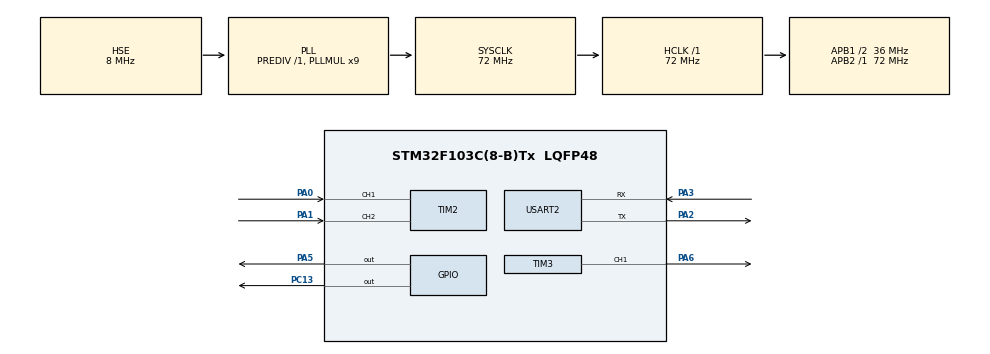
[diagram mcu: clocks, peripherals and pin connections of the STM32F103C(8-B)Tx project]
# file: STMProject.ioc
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Dma.Request0=USART2_RX
Dma.USART2_RX.0.Direction=DMA_PERIPH_TO_MEMORY
Dma.USART2_RX.0.Instance=DMA1_Channel6
Dma.USART2_RX.0.MemDataAlignment=DMA_MDATAALIGN_BYTE
Dma.USART2_RX.0.MemInc=DMA_MINC_ENABLE
Dma.USART2_RX.0.Mode=DMA_CIRCULAR
Dma.USART2_RX.0.PeriphDataAlignment=DMA_PDATAALIGN_BYTE
Dma.USART2_RX.0.PeriphInc=DMA_PINC_DISABLE
Dma.USART2_RX.0.Priority=DMA_PRIORITY_LOW
Mcu.Family=STM32F1
Mcu.Name=STM32F103C(8-B)Tx
Mcu.Package=LQFP48
NVIC.DMA1_Channel6_IRQn=true\:0\:0\:false\:false\:true\:false\:true\:true
NVIC.PriorityGroup=NVIC_PRIORITYGROUP_4
NVIC.TIM2_IRQn=true\:0\:0\:false\:false\:true\:true\:true\:true
PA0-WKUP.Signal=S_TIM2_CH1_ETR
PA1.Signal=S_TIM2_CH2
PA2.Mode=Asynchronous
PA2.Signal=USART2_TX
PA3.Mode=Asynchronous
PA3.Signal=USART2_RX
PA5.Signal=GPIO_Output
PA6.Signal=S_TIM3_CH1
PC13-TAMPER-RTC.Signal=GPIO_Output
PD0-OSC_IN.Mode=HSE-External-Oscillator
PD0-OSC_IN.Signal=RCC_OSC_IN
PD1-OSC_OUT.Mode=HSE-External-Oscillator
PD1-OSC_OUT.Signal=RCC_OSC_OUT
ProjectManager.HeapSize=0x200
ProjectManager.StackSize=0x400
ProjectManager.TargetToolchain=STM32CubeIDE
RCC.AHBFreq_Value=72000000
RCC.APB1CLKDivider=RCC_HCLK_DIV2
RCC.APB1Freq_Value=36000000
RCC.APB1TimFreq_Value=72000000
RCC.APB2Freq_Value=72000000
RCC.APB2TimFreq_Value=72000000
RCC.HCLKFreq_Value=72000000
RCC.PLLMUL=RCC_PLL_MUL9
RCC.PLLSourceVirtual=RCC_PLLSOURCE_HSE
RCC.SYSCLKFreq_VALUE=72000000
RCC.SYSCLKSource=RCC_SYSCLKSOURCE_PLLCLK
RCC.USBFreq_Value=72000000
SH.S_TIM2_CH1_ETR.0=TIM2_CH1,Encoder_Interface
SH.S_TIM2_CH2.0=TIM2_CH2,Encoder_Interface
SH.S_TIM3_CH1.0=TIM3_CH1,PWM Generation1 CH1
TIM2.AutoReloadPreload=TIM_AUTORELOAD_PRELOAD_ENABLE
TIM2.EncoderMode=TIM_ENCODERMODE_TI12
TIM2.IC1Filter=10
TIM3.AutoReloadPreload=TIM_AUTORELOAD_PRELOAD_ENABLE
TIM3.Channel-PWM\ Generation1\ CH1=TIM_CHANNEL_1
USART2.VirtualMode=VM_ASYNC
board=custom

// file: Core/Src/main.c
/* USER CODE BEGIN Header */
/**
  ******************************************************************************
  * @file           : main.c
  * @brief          : Main program body
  ******************************************************************************
  * @attention
  *
  * Copyright (c) 2023 STMicroelectronics.
  * All rights reserved.
  *
  * This software is licensed under terms that can be found in the LICENSE file
  * in the root directory of this software component.
  * If no LICENSE file comes with this software, it is provided AS-IS.
  *
  ******************************************************************************
  */
/* USER CODE END Header */
#include "main.h"
#include "stdio.h"

TIM_HandleTypeDef htim2;
TIM_HandleTypeDef htim3;

UART_HandleTypeDef huart2;
DMA_HandleTypeDef hdma_usart2_rx;

void SystemClock_Config(void);
static void MX_GPIO_Init(void);
static void MX_DMA_Init(void);
static void MX_TIM3_Init(void);
static void MX_USART2_UART_Init(void);
static void MX_TIM2_Init(void);

/* USER CODE BEGIN 0 */
int64_t encoder_delta_position;
encoder_instance enc_instance;

/* USER CODE END 0 */

int main(void)
{

  /* MCU Configuration--------------------------------------------------------*/

  /* Reset of all peripherals, Initializes the Flash interface and the Systick. */
  HAL_Init();

  /* Configure the system clock */
  SystemClock_Config();

  /* Initialize all configured peripherals */
  MX_GPIO_Init();
  MX_DMA_Init();
  MX_TIM3_Init();
  MX_USART2_UART_Init();
  MX_TIM2_Init();
  /* USER CODE BEGIN 2*/
  uint8_t message[DATA_LENGTH] = {'\0'};
  uint8_t RxData[DATA_LENGTH];
  int32_t dutyCycle = 0;

  /* USER CODE END 2 */

  /* Infinite loop */
  /* USER CODE BEGIN WHILE */
  while (1)
  {
	  dutyCycle = 0;
	  // measure velocity, position
	  update_encoder(&enc_instance, &htim2);
	  encoder_delta_position = enc_instance.delta_position;

	  sprintf(message, "%d\r\n", encoder_delta_position); //add detailed message
	  HAL_UART_Transmit(&huart2, message, sizeof(message), UART_TIMEOUT);
	  HAL_UART_Receive_DMA(&huart2, RxData, sizeof(RxData));

	  //check for negative PWM
 	  if(RxData[0]== '-')
 	  {
 		 HAL_GPIO_WritePin(WHEEL_M_DIR_GPIO_Port, WHEEL_M_DIR_Pin, GPIO_PIN_RESET);
 	  }
 	  else
 	  {
 		 HAL_GPIO_WritePin(WHEEL_M_DIR_GPIO_Port, WHEEL_M_DIR_Pin, GPIO_PIN_SET);
 	  }

	  for(uint8_t i = 0; RxData[i] != '\t' && i< sizeof(RxData); i++)
	   {
		  if(RxData[i]== '-')
		  {
			  continue;
		  }
		  else
		  {
			  //change values from string to integer value
			  dutyCycle = dutyCycle*10 + (RxData[i] - '0');
		  }
	   }

	  dutyCycle = abs(dutyCycle);

	  //push PWM value
	  if(dutyCycle < DUTYCYCLE_MAX)
	  {
		  	  dutyCycle = dutyCycle*DUTYCYCLE_SCALER;
	       	  TIM3->CCR1 = dutyCycle;
	  }
	  else
	  {
		  TIM3->CCR1 = 0;
	  }

    /* USER CODE END WHILE */

  }
}

void SystemClock_Config(void)
{
  RCC_OscInitTypeDef RCC_OscInitStruct = {0};
  RCC_ClkInitTypeDef RCC_ClkInitStruct = {0};

  /** Initializes the RCC Oscillators according to the specified parameters
  * in the RCC_OscInitTypeDef structure.
  */
  RCC_OscInitStruct.OscillatorType = RCC_OSCILLATORTYPE_HSE;
  RCC_OscInitStruct.HSEState = RCC_HSE_ON;
  RCC_OscInitStruct.HSEPredivValue = RCC_HSE_PREDIV_DIV1;
  RCC_OscInitStruct.HSIState = RCC_HSI_ON;
  RCC_OscInitStruct.PLL.PLLState = RCC_PLL_ON;
  RCC_OscInitStruct.PLL.PLLSource = RCC_PLLSOURCE_HSE;
  RCC_OscInitStruct.PLL.PLLMUL = RCC_PLL_MUL9;
  if (HAL_RCC_OscConfig(&RCC_OscInitStruct) != HAL_OK)
  {
    Error_Handler();
  }

  /** Initializes the CPU, AHB and APB buses clocks
  */
  RCC_ClkInitStruct.ClockType = RCC_CLOCKTYPE_HCLK|RCC_CLOCKTYPE_SYSCLK
                              |RCC_CLOCKTYPE_PCLK1|RCC_CLOCKTYPE_PCLK2;
  RCC_ClkInitStruct.SYSCLKSource = RCC_SYSCLKSOURCE_PLLCLK;
  RCC_ClkInitStruct.AHBCLKDivider = RCC_SYSCLK_DIV1;
  RCC_ClkInitStruct.APB1CLKDivider = RCC_HCLK_DIV2;
  RCC_ClkInitStruct.APB2CLKDivider = RCC_HCLK_DIV1;

  if (HAL_RCC_ClockConfig(&RCC_ClkInitStruct, FLASH_LATENCY_2) != HAL_OK)
  {
    Error_Handler();
  }
}

static void MX_TIM2_Init(void)
{

  TIM_Encoder_InitTypeDef sConfig = {0};
  TIM_MasterConfigTypeDef sMasterConfig = {0};

  htim2.Instance = TIM2;
  htim2.Init.Prescaler = 0;
  htim2.Init.CounterMode = TIM_COUNTERMODE_UP;
  htim2.Init.Period = 65535;
  htim2.Init.ClockDivision = TIM_CLOCKDIVISION_DIV1;
  htim2.Init.AutoReloadPreload = TIM_AUTORELOAD_PRELOAD_ENABLE;
  sConfig.EncoderMode = TIM_ENCODERMODE_TI12;
  sConfig.IC1Polarity = TIM_ICPOLARITY_RISING;
  sConfig.IC1Selection = TIM_ICSELECTION_DIRECTTI;
  sConfig.IC1Prescaler = TIM_ICPSC_DIV1;
  sConfig.IC1Filter = 10;
  sConfig.IC2Polarity = TIM_ICPOLARITY_RISING;
  sConfig.IC2Selection = TIM_ICSELECTION_DIRECTTI;
  sConfig.IC2Prescaler = TIM_ICPSC_DIV1;
  sConfig.IC2Filter = 0;
  if (HAL_TIM_Encoder_Init(&htim2, &sConfig) != HAL_OK)
  {
    Error_Handler();
  }
  sMasterConfig.MasterOutputTrigger = TIM_TRGO_RESET;
  sMasterConfig.MasterSlaveMode = TIM_MASTERSLAVEMODE_DISABLE;
  if (HAL_TIMEx_MasterConfigSynchronization(&htim2, &sMasterConfig) != HAL_OK)
  {
    Error_Handler();
  }
  /* USER CODE BEGIN TIM2_Init 2 */
  HAL_TIM_Encoder_Start(&htim2, TIM_CHANNEL_ALL);
  /* USER CODE END TIM2_Init 2 */

}

static void MX_TIM3_Init(void)
{

  TIM_MasterConfigTypeDef sMasterConfig = {0};
  TIM_OC_InitTypeDef sConfigOC = {0};

  htim3.Instance = TIM3;
  htim3.Init.Prescaler = 0;
  htim3.Init.CounterMode = TIM_COUNTERMODE_UP;
  htim3.Init.Period = 65535;
  htim3.Init.ClockDivision = TIM_CLOCKDIVISION_DIV1;
  htim3.Init.AutoReloadPreload = TIM_AUTORELOAD_PRELOAD_ENABLE;
  if (HAL_TIM_PWM_Init(&htim3) != HAL_OK)
  {
    Error_Handler();
  }
  sMasterConfig.MasterOutputTrigger = TIM_TRGO_RESET;
  sMasterConfig.MasterSlaveMode = TIM_MASTERSLAVEMODE_DISABLE;
  if (HAL_TIMEx_MasterConfigSynchronization(&htim3, &sMasterConfig) != HAL_OK)
  {
    Error_Handler();
  }
  sConfigOC.OCMode = TIM_OCMODE_PWM1;
  sConfigOC.Pulse = 0;
  sConfigOC.OCPolarity = TIM_OCPOLARITY_HIGH;
  sConfigOC.OCFastMode = TIM_OCFAST_DISABLE;
  if (HAL_TIM_PWM_ConfigChannel(&htim3, &sConfigOC, TIM_CHANNEL_1) != HAL_OK)
  {
    Error_Handler();
  }
  /* USER CODE BEGIN TIM3_Init 2 */
  HAL_TIM_PWM_Start(&htim3, TIM_CHANNEL_1);
  /* USER CODE END TIM3_Init 2 */
  HAL_TIM_MspPostInit(&htim3);

}

static void MX_USART2_UART_Init(void)
{

  huart2.Instance = USART2;
  huart2.Init.BaudRate = 115200;
  huart2.Init.WordLength = UART_WORDLENGTH_8B;
  huart2.Init.StopBits = UART_STOPBITS_1;
  huart2.Init.Parity = UART_PARITY_NONE;
  huart2.Init.Mode = UART_MODE_TX_RX;
  huart2.Init.HwFlowCtl = UART_HWCONTROL_NONE;
  huart2.Init.OverSampling = UART_OVERSAMPLING_16;
  if (HAL_UART_Init(&huart2) != HAL_OK)
  {
    Error_Handler();
  }

}

static void MX_DMA_Init(void)
{

  /* DMA controller clock enable */
  __HAL_RCC_DMA1_CLK_ENABLE();

  /* DMA interrupt init */
  /* DMA1_Channel6_IRQn interrupt configuration */
  HAL_NVIC_SetPriority(DMA1_Channel6_IRQn, 0, 0);
  HAL_NVIC_EnableIRQ(DMA1_Channel6_IRQn);

}

static void MX_GPIO_Init(void)
{
  GPIO_InitTypeDef GPIO_InitStruct = {0};

  /* GPIO Ports Clock Enable */
  __HAL_RCC_GPIOC_CLK_ENABLE();
  __HAL_RCC_GPIOD_CLK_ENABLE();
  __HAL_RCC_GPIOA_CLK_ENABLE();

  /*Configure GPIO pin Output Level */
  HAL_GPIO_WritePin(GPIOC, GPIO_PIN_13, GPIO_PIN_RESET);

  /*Configure GPIO pin Output Level */
  HAL_GPIO_WritePin(GPIOA, GPIO_PIN_5, GPIO_PIN_RESET);

  /*Configure GPIO pin : PC13 */
  GPIO_InitStruct.Pin = GPIO_PIN_13;
  GPIO_InitStruct.Mode = GPIO_MODE_OUTPUT_PP;
  GPIO_InitStruct.Pull = GPIO_NOPULL;
  GPIO_InitStruct.Speed = GPIO_SPEED_FREQ_LOW;
  HAL_GPIO_Init(GPIOC, &GPIO_InitStruct);

  /*Configure GPIO pin : PA5 */
  GPIO_InitStruct.Pin = GPIO_PIN_5;
  GPIO_InitStruct.Mode = GPIO_MODE_OUTPUT_PP;
  GPIO_InitStruct.Pull = GPIO_NOPULL;
  GPIO_InitStruct.Speed = GPIO_SPEED_FREQ_LOW;
  HAL_GPIO_Init(GPIOA, &GPIO_InitStruct);

}

void Error_Handler(void)
{
  __disable_irq();
  while (1)
  {
  }
}
